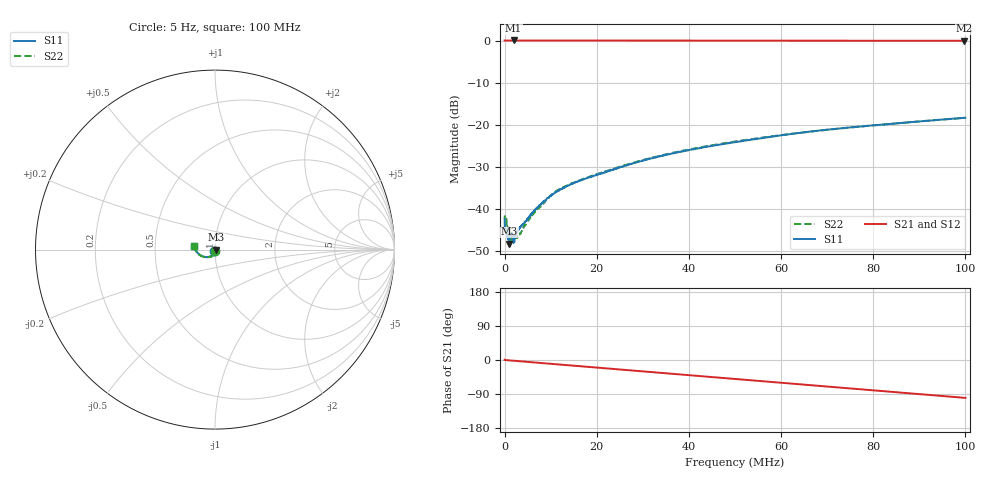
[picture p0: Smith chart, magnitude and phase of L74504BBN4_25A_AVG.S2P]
!Agilent Technologies,E5061B,MY49102235,A.02.00
!Date: Tue Jul 11 16:45:29 2023
!Data & Calibration Information:
!Freq	S11:SOLT2(ON)	S21:SOLT2(ON)	S12:SOLT2(ON)	S22:SOLT2(ON)
# Hz S RI R 50
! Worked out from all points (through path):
!   1600 points, 5 Hz to 100 MHz, reference 50 ohm
!   highest |S21| = 0.02 dB at 1.939 MHz (marker M1); lowest = -0.1 dB at 99.75 MHz (marker M2)
!   group delay of S21, straight-line fit = 2.78 ns
!   lowest |S11| = -48.2 dB at 1.001 MHz (marker M3), VSWR 1.01, Z = 50.4 - j0.0824 ohm
!   |S11| at or under -10 dB: start of sweep to end of sweep
!   |S22| runs from -48.8 to -18.4 dB; largest |S21 - S12| = 0.0029
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5  -0.00522 -0.00564  1.002 0.00783  1.001 0.0103  -0.00145 -0.00755
437778.6  0.00515 -0.000604  1.001 -0.00548  1.001 -0.00602  0.0066 -0.00225
625395.8  0.00511 -0.000653  1.002 -0.0106  1.002 -0.00997  0.00609 -0.00103
1000630  0.00379 -0.000818  1.001 -0.0165  1.001 -0.0158  0.00515 -0.00175
1563482  0.00435 -0.00297  1.001 -0.0264  1 -0.0251  0.00315 -0.00356
1938717  0.00314 -0.00243  1.002 -0.0337  1.001 -0.0329  0.00342 -0.00218
2376490  0.00331 -0.00312  1 -0.0414  1 -0.0412  0.00395 -0.00278
3064420  0.00415 -0.00385  1 -0.0535  0.9989 -0.053  0.00306 -0.00372
6003757  0.00329 -0.00819  0.9956 -0.1047  0.9954 -0.1041  0.00289 -0.00804
9505946  0.00137 -0.0136  0.9873 -0.1656  0.9873 -0.1649  0.000839 -0.0136
1.156974e7  -0.000173 -0.0165  0.9809 -0.2009  0.9804 -0.2003  -0.000967 -0.0167
1.669794e7  -0.00417 -0.0217  0.9583 -0.2877  0.958 -0.287  -0.00446 -0.0219
2.582865e7  -0.0118 -0.0299  0.9006 -0.4362  0.9003 -0.4355  -0.00969 -0.0313
3.333334e7  -0.021 -0.0362  0.8354 -0.5499  0.8352 -0.5492  -0.0197 -0.0375
4.033771e7  -0.0309 -0.0401  0.7617 -0.6473  0.7617 -0.6466  -0.0304 -0.0414
5.003127e7  -0.0459 -0.0419  0.6414 -0.7662  0.6415 -0.7654  -0.046 -0.0433
6.672921e7  -0.076 -0.0353  0.3934 -0.9166  0.3939 -0.9162  -0.0753 -0.0357
7.53596e7  -0.0901 -0.0255  0.2514 -0.9642  0.2518 -0.9638  -0.0894 -0.0265
8.33646e7  -0.1013 -0.0126  0.1148 -0.9891  0.1151 -0.9889  -0.1009 -0.0147
9.155722e7  -0.1114 0.00301  -0.0274 -0.9942  -0.027 -0.994  -0.1114 -0.000314
9.974984e7  -0.1192 0.0205  -0.1685 -0.9789  -0.1678 -0.979  -0.1192 0.0173
1e8  -0.1194 0.021  -0.1727 -0.9783  -0.1722 -0.9782  -0.1196 0.018
